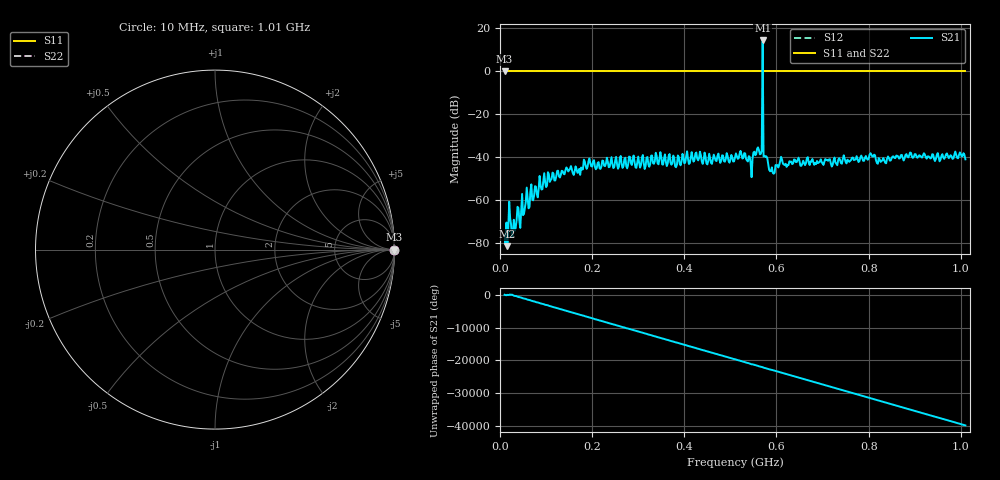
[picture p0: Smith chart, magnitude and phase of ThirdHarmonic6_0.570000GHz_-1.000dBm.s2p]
! 8/15/2025 6:18:40 PM
! C:\ANRITSUVNA\TEMP\TEMP.S2P
! CHANNEL.1
! TR.MEASUREMENT
! RAW.DATA
! RF.CORRECTION.OFF
! AVERAGING.OFF
! IF.BANDWIDTH: 5KHZ
! SWEEPTYPE:  FREQ.SWEEP(Linear)
! Reference Plane Port Info
! PORT:  PORT1  PORT2
! DISTANCE:  0  m  0  m
! TIME:  0  s  0  s
! PHASE.OFFSET:  0  deg.  0  deg.
! LOSS:  0  dB  0  dB
! REF.LOSS:  0  dB  0  dB
! REF.FREQ:  0  Hz  0  Hz
! Power Info
! POWER:  -20  dBm  -20  dBm
! EFF.POWER:  -20  dBm  -20  dBm
! SOURCE.ATTEN:  0  dB  0  dB
! TEST.ATTEN:  0  dB  0  dB
# GHZ S RI R 50.0
! FREQ.GHZ  S11RE  S11IM  S21RE  S21IM  S12RE  S12IM  S22RE  S22IM
!; PortSelection: Port_12
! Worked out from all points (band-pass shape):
!   501 points, 10 MHz to 1.01 GHz, reference 50 ohm
!   highest |S21| = 14.30 dB at 570 MHz (marker M1); lowest = -81.4 dB at 16 MHz (marker M2)
!   |S21| within 3 dB of the highest: 569.883 MHz to 570.1112 MHz (228.2 kHz wide, 0.04 % of centre)
!   lowest |S11| = 0.0 dB at 10 MHz (marker M3)
!   |S11| at or under -10 dB: nowhere
!   |S22| runs from 0.0 to 0.0 dB; largest |S21 - S12| = 5.7
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0.01  1 0  0.000131 -8.87e-05  1 0  1 0
0.016  1 0  5.68e-05 -6.33e-05  1 0  1 0
0.022  1 0  0.000342 0.000171  1 0  1 0
0.03  1 0  0.000225 0.000267  1 0  1 0
0.036  1 0  -8.79e-05 -0.000326  1 0  1 0
0.056  1 0  -0.000711 0.000579  1 0  1 0
0.1  1 0  -0.000161 0.00201  1 0  1 0
0.178  1 0  -0.00513 0.000444  1 0  1 0
0.344  1 0  0.00558 -0.00395  1 0  1 0
0.51  1 0  -0.00734 0.00654  1 0  1 0
0.526  1 0  -0.00913 -0.00182  1 0  1 0
0.542  1 0  -6.23e-05 -0.0101  1 0  1 0
0.564  1 0  0.000549 0.0117  1 0  1 0
0.566  1 0  0.0118 0.00163  1 0  1 0
0.57  1 0  -2.094 -4.747  1 0  1 0
0.574  1 0  0.00871 0.00625  1 0  1 0
0.576  1 0  0.00773 -0.00657  1 0  1 0
0.592  1 0  0.00351 0.00253  1 0  1 0
0.61  1 0  0.00596 0.00825  1 0  1 0
0.678  1 0  -0.00757 -0.00493  1 0  1 0
0.844  1 0  0.00924 0.00272  1 0  1 0
1.01  1 0  -0.00858 0.00233  1 0  1 0
